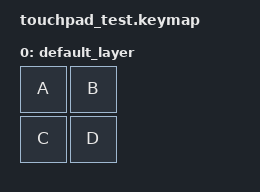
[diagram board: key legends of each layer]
#include <behaviors.dtsi>
#include <dt-bindings/zmk/keys.h>
#include <dt-bindings/zmk/mouse.h>

/ {
    keymap {
        compatible = "zmk,keymap";

        default_layer {
            bindings = <
                &kp A  &kp B
                &kp C  &kp D
            >;
        };
    };
};
